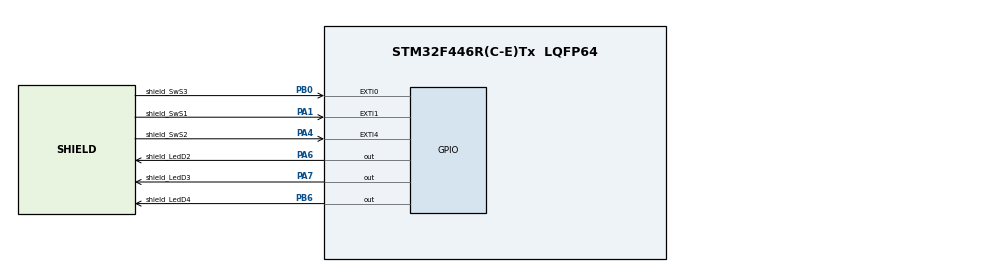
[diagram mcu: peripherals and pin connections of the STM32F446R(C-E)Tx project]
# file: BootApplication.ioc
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Mcu.Family=STM32F4
Mcu.Name=STM32F446R(C-E)Tx
Mcu.Package=LQFP64
NVIC.EXTI0_IRQn=true\:0\:0\:false\:false\:true\:true\:true\:true
NVIC.EXTI1_IRQn=true\:0\:0\:false\:false\:true\:true\:true\:true
NVIC.EXTI4_IRQn=true\:0\:0\:false\:false\:true\:true\:true\:true
NVIC.PriorityGroup=NVIC_PRIORITYGROUP_4
PA1.GPIO_Label=shield_SwS1
PA1.GPIO_ModeDefaultEXTI=GPIO_MODE_IT_FALLING
PA1.Signal=GPXTI1
PA4.GPIO_Label=shield_SwS2
PA4.GPIO_ModeDefaultEXTI=GPIO_MODE_IT_FALLING
PA4.Signal=GPXTI4
PA6.GPIO_Label=shield_LedD2
PA6.GPIO_ModeDefaultOutputPP=GPIO_MODE_OUTPUT_OD
PA6.GPIO_PuPd=GPIO_NOPULL
PA6.PinState=GPIO_PIN_SET
PA6.Signal=GPIO_Output
PA7.GPIO_Label=shield_LedD3
PA7.GPIO_ModeDefaultOutputPP=GPIO_MODE_OUTPUT_OD
PA7.GPIO_PuPd=GPIO_NOPULL
PA7.PinState=GPIO_PIN_SET
PA7.Signal=GPIO_Output
PB0.GPIO_Label=shield_SwS3
PB0.GPIO_ModeDefaultEXTI=GPIO_MODE_IT_FALLING
PB0.Signal=GPXTI0
PB6.GPIO_Label=shield_LedD4
PB6.GPIO_ModeDefaultOutputPP=GPIO_MODE_OUTPUT_OD
PB6.GPIO_PuPd=GPIO_NOPULL
PB6.PinState=GPIO_PIN_SET
PB6.Signal=GPIO_Output
ProjectManager.HeapSize=0x200
ProjectManager.StackSize=0x400
ProjectManager.TargetToolchain=STM32CubeIDE
RCC.CortexFreq_Value=16000000
RCC.USBFreq_Value=96000000
RCC.VCOOutputFreq_Value=192000000
board=custom

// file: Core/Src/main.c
/* USER CODE BEGIN Header */
/**
  ******************************************************************************
  * @file           : main.c
  * @brief          : Main program body
  ******************************************************************************
  * @attention
  *
  * Copyright (c) 2025 STMicroelectronics.
  * All rights reserved.
  *
  * This software is licensed under terms that can be found in the LICENSE file
  * in the root directory of this software component.
  * If no LICENSE file comes with this software, it is provided AS-IS.
  *
  ******************************************************************************
  */
/* USER CODE END Header */
#include "main.h"
#include <stdio.h>
#include <stdbool.h>

/* USER CODE BEGIN PTD */
typedef void (*pFunction)(void);

/* USER CODE END PTD */

/* USER CODE BEGIN PM */

#define BOOT_ADDR   ((uint32_t)0x08000000)  // início da aplicação (Setor 4)

/* USER CODE END PM */

void SystemClock_Config(void);
static void MX_GPIO_Init(void);

/* USER CODE BEGIN 0 */

static void jump_to_application(void)
{
    __disable_irq();

    // 1) Parar e limpar SysTick
    SysTick->CTRL = 0;
    SysTick->LOAD = 0;
    SysTick->VAL  = 0;

    // 2) Limpar pendências de exceções
    SCB->ICSR |= SCB_ICSR_PENDSTCLR_Msk | SCB_ICSR_PENDSVCLR_Msk;

    // 3) Desabilitar e limpar NVIC
    for (uint32_t i = 0; i < 8; i++) {
        NVIC->ICER[i] = 0xFFFFFFFF;
        NVIC->ICPR[i] = 0xFFFFFFFF;
    }

    // 4) Limpar status de Faults
    SCB->CFSR = SCB->CFSR;
    SCB->HFSR = SCB->HFSR;
    SCB->DFSR = SCB->DFSR;
    SCB->SHCSR = 0;

    // 5) Limpar pendências EXTI (evita “flag latente”)
    EXTI->PR = 0x00FFFFFFU; // write-1-to-clear

    // ==============================================================
    // ALTERAÇÕES SUGERIDAS A PARTIR DAQUI
    // ==============================================================

    // 6.a) Resetar e liberar o SYSCFG (Importante para o MUX do EXTI)
    __HAL_RCC_SYSCFG_FORCE_RESET();
    __HAL_RCC_SYSCFG_RELEASE_RESET();

    // 6.b) Desabilitar CLOCKS de todos os GPIOs e periféricos do bootloader
    // Isso força a aplicação a reconfigurar tudo do zero.
    __HAL_RCC_GPIOA_CLK_DISABLE();
    __HAL_RCC_GPIOB_CLK_DISABLE();
    __HAL_RCC_GPIOC_CLK_DISABLE();
    __HAL_RCC_GPIOD_CLK_DISABLE();
    __HAL_RCC_GPIOE_CLK_DISABLE();
    __HAL_RCC_GPIOF_CLK_DISABLE();
    __HAL_RCC_GPIOG_CLK_DISABLE();
    __HAL_RCC_GPIOH_CLK_DISABLE();
    // Adicione outros periféricos que o BOOTLOADER usou (UART, SPI, etc.) se necessário
    // Exemplo: __HAL_RCC_USART2_CLK_DISABLE();

    // 6.c) Deinit HAL/periféricos (função que você já tinha)
    HAL_DeInit();

    // ==============================================================
    // FIM DAS ALTERAÇÕES
    // ==============================================================

    // 7) Validar imagem da App
    uint32_t app_msp   = *(__IO uint32_t*)BOOT_ADDR;
    uint32_t app_reset = *(__IO uint32_t*)(BOOT_ADDR + 4);
    if ((app_msp & 0x2FF00000U) != 0x20000000U || (app_reset & 1U) == 0U) {
        // Validação falhou, resetar o sistema
        NVIC_SystemReset();
    }

    // 8) Garantir Thread Mode usando MSP (não PSP)
    __set_CONTROL(0);  // SPSEL=0, nPRIV=0
    __DSB(); __ISB();

    // 9) Zerar BASEPRI (se bootloader usou seções críticas)
    __set_BASEPRI(0);

    // 10) VTOR da app (Você já tinha isso corretamente)
    SCB->VTOR = BOOT_ADDR;    // alinhado a 0x200
    __DSB(); __ISB(); // Barreiras de memória para garantir a ordem

    // 11) MSP da app
    __set_MSP(app_msp);
    __DSB(); __ISB(); // Barreiras de memória

    // 12) Saltar para Reset_Handler da app (bit0=1 já vem correto)
    ((pFunction)app_reset)();

    // Se a aplicação retornar (o que não deveria), resetar
    NVIC_SystemReset();
}

bool flag_jump = false;
void HAL_GPIO_EXTI_Callback(uint16_t GPIO_Pin)
{
	if(GPIO_Pin == shield_SwS1_Pin)
	{
		HAL_GPIO_TogglePin(shield_LedD2_GPIO_Port, shield_LedD2_Pin);
	}
	else if(GPIO_Pin == shield_SwS2_Pin)
	{
		HAL_GPIO_TogglePin(shield_LedD3_GPIO_Port, shield_LedD3_Pin);
	}
	else if(GPIO_Pin == shield_SwS3_Pin)
	{
		flag_jump = true;
	}
}

//static void dump_exti_nvic(void)
//{
//    uint32_t vtor     = SCB->VTOR;
//    uint32_t primask  = __get_PRIMASK();
//    uint32_t basepri  = __get_BASEPRI();
//    uint32_t aircr    = SCB->AIRCR; // prioridade grouping
//    uint32_t iser0    = NVIC->ISER[0]; // EXTI0..4 ficam no ISER[0] em F4
//    uint32_t imr      = EXTI->IMR;
//    uint32_t emr      = EXTI->EMR;
//    uint32_t rtsr     = EXTI->RTSR;
//    uint32_t ftsr     = EXTI->FTSR;
//    uint32_t pr       = EXTI->PR;
//#if defined(SYSCFG) && defined(SYSCFG_EXTICR1) && defined(SYSCFG_EXTICR2)
//    uint32_t exticr1  = SYSCFG->EXTICR[0]; // EXTI0..3
//    uint32_t exticr2  = SYSCFG->EXTICR[1]; // EXTI4..7
//#endif
//
//    // Troque por sua forma de log (semihosting/ITM/USART/LED patterns)
//    printf("VTOR=0x%08lX, PRIMASK=%lu, BASEPRI=%lu, AIRCR=0x%08lX\r\n",
//           vtor, primask, basepri, aircr);
//    printf("NVIC.ISER0=0x%08lX\r\n", iser0);
//    printf("EXTI: IMR=0x%08lX EMR=0x%08lX RTSR=0x%08lX FTSR=0x%08lX PR=0x%08lX\r\n",
//           imr, emr, rtsr, ftsr, pr);
//#if defined(SYSCFG) && defined(SYSCFG_EXTICR1) && defined(SYSCFG_EXTICR2)
//    printf("SYSCFG EXTICR1=0x%08lX EXTICR2=0x%08lX\r\n", exticr1, exticr2);
//#endif
//}

extern void EXTI0_IRQHandler(void);
extern void EXTI1_IRQHandler(void);
extern void EXTI4_IRQHandler(void);

//static void checar_vetor(void)
//{
//    uint32_t *vt = (uint32_t *)SCB->VTOR;         // já vimos que é 0x08010000
//    uint32_t vt_exti0 = vt[16 + EXTI0_IRQn];      // entrada do vetor para EXTI0
//    uint32_t vt_exti1 = vt[16 + EXTI1_IRQn];      // EXTI1
//    uint32_t vt_exti4 = vt[16 + EXTI4_IRQn];      // EXTI4
//
//    uintptr_t fn_exti0 = (uintptr_t)EXTI0_IRQHandler;
//    uintptr_t fn_exti1 = (uintptr_t)EXTI1_IRQHandler;
//    uintptr_t fn_exti4 = (uintptr_t)EXTI4_IRQHandler;
//
//    // Coloque breakpoints aqui e compare no debugger:
//    // - vt_extiX deve ser IGUAL a fn_extiX (ou diferir apenas no bit0 por thumb).
//    // - Se vt_extiX == 0 ou não bate com fn_extiX, a tabela está apontando para Default_Handler ou outro lugar.
//    (void)vt_exti0; (void)vt_exti1; (void)vt_exti4;
//    (void)fn_exti0; (void)fn_exti1; (void)fn_exti4;
//}

/* USER CODE END 0 */

int main(void)
{
//	uint32_t basepri_val = __get_BASEPRI();
//	uint32_t aircr_val = SCB->AIRCR;

  HAL_Init();

  // Herdado do bootloader: garanta ambiente previsível
  HAL_NVIC_SetPriorityGrouping(NVIC_PRIORITYGROUP_4);
//  __set_BASEPRI(0);
//  __HAL_RCC_SYSCFG_CLK_ENABLE();

  // (Opcional e recomendado) resetar blocos que o bootloader possa ter tocado
//  __HAL_RCC_SYSCFG_FORCE_RESET();  __HAL_RCC_SYSCFG_RELEASE_RESET();
//  __HAL_RCC_GPIOA_FORCE_RESET();   __HAL_RCC_GPIOA_RELEASE_RESET();
//  __HAL_RCC_GPIOB_FORCE_RESET();   __HAL_RCC_GPIOB_RELEASE_RESET();

  // Clocks do sistema
  SystemClock_Config();

  // Reabilite clocks de GPIO novamente (após o reset acima)
//  __HAL_RCC_GPIOA_CLK_ENABLE();
//  __HAL_RCC_GPIOB_CLK_ENABLE();

  // GPIO/EXTI (CubeMX)
  MX_GPIO_Init();

  // --- FORÇAR mapeamento SYSCFG->EXTICR para suas linhas ---
  // Ajuste os nibbles ao PORT real de cada chave:
  // 0 = PORTA, 1 = PORTB, 2 = PORTC, ...
  // (Ex.: S1=PA0, S2=PA1, S3=PA4)
//  SYSCFG->EXTICR[0] = (SYSCFG->EXTICR[0] & ~(0xF << 0)) | (0x0 << 0); // EXTI0 <- PA
//  SYSCFG->EXTICR[0] = (SYSCFG->EXTICR[0] & ~(0xF << 4)) | (0x0 << 4); // EXTI1 <- PA
//  SYSCFG->EXTICR[1] = (SYSCFG->EXTICR[1] & ~(0xF << 0)) | (0x0 << 0); // EXTI4 <- PA
  // Se S3 for PB4, use: (0x1 << 0) em EXTICR[1]

  // Limpeza de pendências e garantia de máscara/trigger
//  EXTI->PR   = (1U << 0) | (1U << 1) | (1U << 4);
//  EXTI->IMR |= (1U << 0) | (1U << 1) | (1U << 4);
//  EXTI->FTSR |= (1U << 0) | (1U << 1) | (1U << 4);  // IT_FALLING

  // Reabilitar interrupções globais (PRIMASK=0)
  __enable_irq();

//  uint32_t primask = __get_PRIMASK();
//  uint32_t faultmask = __get_FAULTMASK();
//  uint32_t basepri = __get_BASEPRI();

//  checar_vetor();

  // (Opcional) teste de disparo por software — deve chamar HAL_GPIO_EXTI_Callback()
//   EXTI->SWIER |= (1U << 0);
//   EXTI->SWIER |= (1U << 1);
//   EXTI->SWIER |= (1U << 4);

  	int i = 5;
	while (i)
	{

	 HAL_GPIO_TogglePin(shield_LedD4_GPIO_Port, shield_LedD4_Pin);
	 HAL_Delay(200);
	 HAL_GPIO_TogglePin(shield_LedD4_GPIO_Port, shield_LedD4_Pin);
	 HAL_Delay(200);
	 i--;
	  /* USER CODE END WHILE */

	  /* USER CODE BEGIN 3 */
	}

  while (1)
  {
	  if(flag_jump)
	  		  jump_to_application();
  }
}

//int main(void)
//{
//
//
//	int32_t ctrl = __get_CONTROL();
//	uint32_t msp  = __get_MSP();
//	uint32_t psp  = __get_PSP();
//
//  HAL_Init();
//
//  /* Ajuste de ambiente herdado do bootloader */
//  HAL_NVIC_SetPriorityGrouping(NVIC_PRIORITYGROUP_4);
//  __set_BASEPRI(0);
//  __HAL_RCC_SYSCFG_CLK_ENABLE();
//
//  /* Clock do sistema */
//  SystemClock_Config();
//
//  /* GPIO/EXTI */
//  MX_GPIO_Init();
//
//
//  /* Limpeza de pendências EXTI antes de começar (linhas usadas) */
//  EXTI->PR = (1U << 0) | (1U << 1) | (1U << 4);
//
//  __enable_irq();
//
//  dump_exti_nvic();
//
//  HAL_GPIO_WritePin(shield_LedD4_GPIO_Port, shield_LedD4_Pin, 0);
//
//  while (1) {
//  }
//}

//int main(void)
//{
//  /* USER CODE BEGIN 1 */
//
//  /* USER CODE END 1 */
//
//  /* MCU Configuration--------------------------------------------------------*/
//
//  /* Reset of all peripherals, Initializes the Flash interface and the Systick. */
//  HAL_Init();
//
//  /* USER CODE BEGIN Init */
//
//  /* USER CODE END Init */
//
//  /* Configure the system clock */
//  SystemClock_Config();
//
//  /* USER CODE BEGIN SysInit */
//
//  /* USER CODE END SysInit */
//
//  /* Initialize all configured peripherals */
//  MX_GPIO_Init();
//  /* USER CODE BEGIN 2 */
//
//  /* USER CODE END 2 */
//
//  /* Infinite loop */
//  /* USER CODE BEGIN WHILE */
//  HAL_GPIO_WritePin(shield_LedD4_GPIO_Port, shield_LedD4_Pin, 0);
//  while (1)
//  {
//    /* USER CODE END WHILE */
//
//    /* USER CODE BEGIN 3 */
//  }
//  /* USER CODE END 3 */
//}

void SystemClock_Config(void)
{
  RCC_OscInitTypeDef RCC_OscInitStruct = {0};
  RCC_ClkInitTypeDef RCC_ClkInitStruct = {0};

  /** Configure the main internal regulator output voltage
  */
  __HAL_RCC_PWR_CLK_ENABLE();
  __HAL_PWR_VOLTAGESCALING_CONFIG(PWR_REGULATOR_VOLTAGE_SCALE3);

  /** Initializes the RCC Oscillators according to the specified parameters
  * in the RCC_OscInitTypeDef structure.
  */
  RCC_OscInitStruct.OscillatorType = RCC_OSCILLATORTYPE_HSI;
  RCC_OscInitStruct.HSIState = RCC_HSI_ON;
  RCC_OscInitStruct.HSICalibrationValue = RCC_HSICALIBRATION_DEFAULT;
  RCC_OscInitStruct.PLL.PLLState = RCC_PLL_NONE;
  if (HAL_RCC_OscConfig(&RCC_OscInitStruct) != HAL_OK)
  {
    Error_Handler();
  }

  /** Initializes the CPU, AHB and APB buses clocks
  */
  RCC_ClkInitStruct.ClockType = RCC_CLOCKTYPE_HCLK|RCC_CLOCKTYPE_SYSCLK
                              |RCC_CLOCKTYPE_PCLK1|RCC_CLOCKTYPE_PCLK2;
  RCC_ClkInitStruct.SYSCLKSource = RCC_SYSCLKSOURCE_HSI;
  RCC_ClkInitStruct.AHBCLKDivider = RCC_SYSCLK_DIV1;
  RCC_ClkInitStruct.APB1CLKDivider = RCC_HCLK_DIV1;
  RCC_ClkInitStruct.APB2CLKDivider = RCC_HCLK_DIV1;

  if (HAL_RCC_ClockConfig(&RCC_ClkInitStruct, FLASH_LATENCY_0) != HAL_OK)
  {
    Error_Handler();
  }
}

static void MX_GPIO_Init(void)
{
  GPIO_InitTypeDef GPIO_InitStruct = {0};

  /* GPIO Ports Clock Enable */
  __HAL_RCC_GPIOA_CLK_ENABLE();
  __HAL_RCC_GPIOB_CLK_ENABLE();

  /*Configure GPIO pin Output Level */
  HAL_GPIO_WritePin(GPIOA, shield_LedD2_Pin|shield_LedD3_Pin, GPIO_PIN_SET);

  /*Configure GPIO pin Output Level */
  HAL_GPIO_WritePin(shield_LedD4_GPIO_Port, shield_LedD4_Pin, GPIO_PIN_SET);

  /*Configure GPIO pins : shield_SwS1_Pin shield_SwS2_Pin */
  GPIO_InitStruct.Pin = shield_SwS1_Pin|shield_SwS2_Pin;
  GPIO_InitStruct.Mode = GPIO_MODE_IT_FALLING;
  GPIO_InitStruct.Pull = GPIO_NOPULL;
  HAL_GPIO_Init(GPIOA, &GPIO_InitStruct);

  /*Configure GPIO pins : shield_LedD2_Pin shield_LedD3_Pin */
  GPIO_InitStruct.Pin = shield_LedD2_Pin|shield_LedD3_Pin;
  GPIO_InitStruct.Mode = GPIO_MODE_OUTPUT_OD;
  GPIO_InitStruct.Pull = GPIO_NOPULL;
  GPIO_InitStruct.Speed = GPIO_SPEED_FREQ_LOW;
  HAL_GPIO_Init(GPIOA, &GPIO_InitStruct);

  /*Configure GPIO pin : shield_SwS3_Pin */
  GPIO_InitStruct.Pin = shield_SwS3_Pin;
  GPIO_InitStruct.Mode = GPIO_MODE_IT_FALLING;
  GPIO_InitStruct.Pull = GPIO_NOPULL;
  HAL_GPIO_Init(shield_SwS3_GPIO_Port, &GPIO_InitStruct);

  /*Configure GPIO pin : shield_LedD4_Pin */
  GPIO_InitStruct.Pin = shield_LedD4_Pin;
  GPIO_InitStruct.Mode = GPIO_MODE_OUTPUT_OD;
  GPIO_InitStruct.Pull = GPIO_NOPULL;
  GPIO_InitStruct.Speed = GPIO_SPEED_FREQ_LOW;
  HAL_GPIO_Init(shield_LedD4_GPIO_Port, &GPIO_InitStruct);

  /* EXTI interrupt init*/
  HAL_NVIC_SetPriority(EXTI0_IRQn, 0, 0);
  HAL_NVIC_EnableIRQ(EXTI0_IRQn);

  HAL_NVIC_SetPriority(EXTI1_IRQn, 0, 0);
  HAL_NVIC_EnableIRQ(EXTI1_IRQn);

  HAL_NVIC_SetPriority(EXTI4_IRQn, 0, 0);
  HAL_NVIC_EnableIRQ(EXTI4_IRQn);

}

void Error_Handler(void)
{
  __disable_irq();
  while (1)
  {
  }
}
